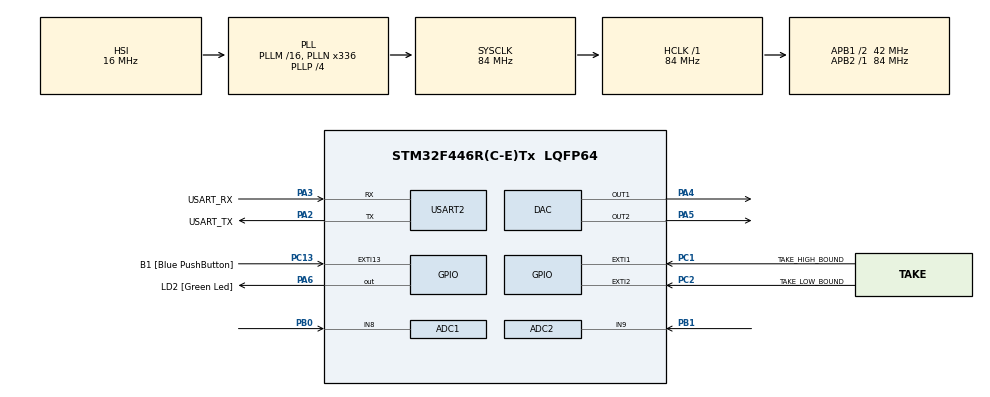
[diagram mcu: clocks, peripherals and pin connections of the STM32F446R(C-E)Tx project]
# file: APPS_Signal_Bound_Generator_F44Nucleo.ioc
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ADC1.Channel-3\#ChannelRegularConversion=ADC_CHANNEL_8
ADC1.ContinuousConvMode=DISABLE
ADC1.DMAContinuousRequests=DISABLE
ADC1.NbrOfConversion=1
ADC1.NbrOfConversionFlag=1
ADC1.Rank-3\#ChannelRegularConversion=1
ADC1.SamplingTime-3\#ChannelRegularConversion=ADC_SAMPLETIME_3CYCLES
ADC1.master=1
ADC2.Channel-2\#ChannelRegularConversion=ADC_CHANNEL_9
ADC2.ContinuousConvMode=DISABLE
ADC2.DMAContinuousRequests=DISABLE
ADC2.NbrOfConversionFlag=1
ADC2.Rank-2\#ChannelRegularConversion=1
ADC2.SamplingTime-2\#ChannelRegularConversion=ADC_SAMPLETIME_3CYCLES
Mcu.Family=STM32F4
Mcu.Name=STM32F446R(C-E)Tx
Mcu.Package=LQFP64
NVIC.EXTI1_IRQn=true\:0\:0\:false\:false\:true\:true\:true\:true
NVIC.EXTI2_IRQn=true\:0\:0\:false\:false\:true\:true\:true\:true
NVIC.PriorityGroup=NVIC_PRIORITYGROUP_0
NimaLTD.I-CUBE-EE.3.2.2.DriverJjEE=true
NimaLTD.I-CUBE-EE.3.2.2.EE_MANUAL_CONFIG=false
PA13.GPIO_Label=TMS
PA13.Mode=Serial_Wire
PA13.Signal=SYS_JTMS-SWDIO
PA14.GPIO_Label=TCK
PA14.Mode=Serial_Wire
PA14.Signal=SYS_JTCK-SWCLK
PA2.GPIO_Label=USART_TX
PA2.Mode=Asynchronous
PA2.Signal=USART2_TX
PA3.GPIO_Label=USART_RX
PA3.Mode=Asynchronous
PA3.Signal=USART2_RX
PA4.Signal=COMP_DAC1_group
PA5.Signal=COMP_DAC2_group
PA6.GPIO_Label=LD2 [Green Led]
PA6.Signal=GPIO_Output
PB0.Signal=ADCx_IN8
PB1.Signal=ADCx_IN9
PB3.GPIO_Label=SWO
PB3.Signal=SYS_JTDO-SWO
PC1.GPIO_Label=TAKE_HIGH_BOUND
PC1.Signal=GPXTI1
PC13.GPIO_Label=B1 [Blue PushButton]
PC13.GPIO_ModeDefaultEXTI=GPIO_MODE_IT_FALLING
PC13.Signal=GPXTI13
PC14-OSC32_IN.Mode=LSE-External-Oscillator
PC14-OSC32_IN.Signal=RCC_OSC32_IN
PC15-OSC32_OUT.Mode=LSE-External-Oscillator
PC15-OSC32_OUT.Signal=RCC_OSC32_OUT
PC2.GPIO_Label=TAKE_LOW_BOUND
PC2.Signal=GPXTI2
PH0-OSC_IN.Mode=HSE-External-Oscillator
PH0-OSC_IN.Signal=RCC_OSC_IN
PH1-OSC_OUT.Mode=HSE-External-Oscillator
PH1-OSC_OUT.Signal=RCC_OSC_OUT
ProjectManager.HeapSize=0x200
ProjectManager.StackSize=0x400
ProjectManager.TargetToolchain=STM32CubeIDE
RCC.48MHZClocksFreq_Value=84000000
RCC.AHBFreq_Value=84000000
RCC.APB1CLKDivider=RCC_HCLK_DIV2
RCC.APB1Freq_Value=42000000
RCC.APB1TimFreq_Value=84000000
RCC.APB2Freq_Value=84000000
RCC.APB2TimFreq_Value=84000000
RCC.CortexFreq_Value=84000000
RCC.FLatency-AdvancedSettings=FLASH_LATENCY_2
RCC.HCLKFreq_Value=84000000
RCC.HSE_VALUE=8000000
RCC.HSI_VALUE=16000000
RCC.PLLN=336
RCC.PLLP=RCC_PLLP_DIV4
RCC.SYSCLKFreq_VALUE=84000000
RCC.SYSCLKSource=RCC_SYSCLKSOURCE_PLLCLK
RCC.USBFreq_Value=168000000
RCC.VCOOutputFreq_Value=336000000
SH.ADCx_IN8.0=ADC1_IN8,IN8
SH.ADCx_IN9.0=ADC2_IN9,IN9
SH.COMP_DAC1_group.0=DAC_OUT1,DAC_OUT1
SH.COMP_DAC2_group.0=DAC_OUT2,DAC_OUT2
USART2.VirtualMode=VM_ASYNC
VP_NimaLTD.I-CUBE-EE_VS_DriverJjEE_1.0.0_3.2.2.Mode=DriverJjEE
board=NUCLEO-F446RE

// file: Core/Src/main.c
/* USER CODE BEGIN Header */
/**
  ******************************************************************************
  * @file           : main.c
  * @brief          : Main program body
  ******************************************************************************
  * @attention
  *
  * Copyright (c) 2025 STMicroelectronics.
  * All rights reserved.
  *
  * This software is licensed under terms that can be found in the LICENSE file
  * in the root directory of this software component.
  * If no LICENSE file comes with this software, it is provided AS-IS.
  *
  ******************************************************************************
  */
/* USER CODE END Header */
#include "main.h"

/* USER CODE BEGIN Includes */
#include <stdlib.h>
#include <stdio.h>
#include <math.h>

// User made library to handle EEPROM using HAL libraries
// Github Page: https://github.com/nimaltd/ee
#include "ee.h"

/* USER CODE END Includes */

ADC_HandleTypeDef hadc1;
ADC_HandleTypeDef hadc2;

DAC_HandleTypeDef hdac;

UART_HandleTypeDef huart2;

/* USER CODE BEGIN PV */

typedef struct
{
 uint32_t sens1UpperBound;
 uint32_t sens1LowerBound;

 uint32_t sens2UpperBound;
 uint32_t sens2LowerBound;
 float val4;

} stotrage_t;

stotrage_t ee_data;

/* -- Possible Default Values for Testing
uint32_t sens1UpperBound = (int)((2.216/3.3) * 4095);
uint32_t sens1LowerBound = (int)((1.543/3.3) * 4095);

uint32_t sens2UpperBound = (int)((1.543/3.3) * 4095);
uint32_t sens2LowerBound = (int)((0.87/3.3) * 4095);
*/

uint32_t sens1UpperBound;
uint32_t sens1LowerBound;

uint32_t sens2UpperBound;
uint32_t sens2LowerBound;

double sensAcceptibleDiff = 0.1;

//  Low to High Sensor
volatile uint16_t sens1PB0;

// High to Low Sensor
volatile uint16_t sens2PB1;

//latches for setting sensor bounds;
int lowerBoundInterruptLatch = 0;
int upperBoundInterruptLatch = 0;

/* USER CODE END PV */

void SystemClock_Config(void);
static void MX_GPIO_Init(void);
static void MX_USART2_UART_Init(void);
static void MX_ADC1_Init(void);
static void MX_ADC2_Init(void);
static void MX_DAC_Init(void);

/* USER CODE BEGIN 0 */

#ifdef __GNUC__
#define PUTCHAR_PROTOTYPE int __io_putchar(int ch)
#else
#define PUTCHAR_PROTOTYPE int fputc(int ch, FILE *f)
#endif

PUTCHAR_PROTOTYPE
{
  HAL_UART_Transmit(&huart2, (uint8_t *)&ch, 1, HAL_MAX_DELAY);
  return ch;
}

/* USER CODE END 0 */

int main(void)
{

  /* MCU Configuration--------------------------------------------------------*/

  /* Reset of all peripherals, Initializes the Flash interface and the Systick. */
  HAL_Init();

  /* Configure the system clock */
  SystemClock_Config();

  /* Initialize all configured peripherals */
  MX_GPIO_Init();
  MX_USART2_UART_Init();
  MX_ADC1_Init();
  MX_ADC2_Init();
  MX_DAC_Init();
  /* USER CODE BEGIN 2 */
  HAL_DAC_Start(&hdac, DAC_CHANNEL_1);  // PA4
  HAL_DAC_Start(&hdac, DAC_CHANNEL_2);  // PA5

  EE_init(&ee_data, sizeof(stotrage_t));
  EE_read();
  //sens1UpperBound = 4095;
  EE_write();

  //ee_init(&ee_data, sizeof(stotrage_t));
  //ee_read();
  /* USER CODE END 2 */

  /* Infinite loop */
  /* USER CODE BEGIN WHILE */
  while (1)
  {
	  sens1UpperBound = ee_data.sens1UpperBound;
	  sens1LowerBound = ee_data.sens1LowerBound;

	  sens2UpperBound = ee_data.sens1UpperBound;
	  sens2LowerBound = ee_data.sens2UpperBound;

	  HAL_ADC_Start(&hadc1); // start the adc
	  HAL_ADC_PollForConversion(&hadc1, 1000); // poll for conversion
	  sens1PB0 = HAL_ADC_GetValue(&hadc1); // get the adc value

	  HAL_ADC_Start(&hadc2); // start the adc
	  HAL_ADC_PollForConversion(&hadc2, 1000); // poll for conversion
	  sens2PB1 = HAL_ADC_GetValue(&hadc2); // get the adc value
	  HAL_ADC_Stop(&hadc1);
	  HAL_ADC_Stop(&hadc2);// stop adc

	  uint16_t sens1Range = abs(sens1UpperBound - sens1LowerBound);
	  uint16_t sens2Range = abs(sens2UpperBound - sens2LowerBound);

	  //double sens2PressPercent = (double)(sens2PB1 / abs(sens2UpperBound - sens2LowerBound));
	  //IF THE VALUE OF SENSOR 2 IS WITHIN THE UNNACCEPTIBLE BOUND THEN OUTPUT FLAT 0V
	  if(abs(sens2PB1 - sens1PB0)/(double)((sens1PB0 + sens2PB1) / 2) * 100 < 10.0) {
		  HAL_DAC_SetValue(&hdac, DAC_CHANNEL_1, DAC_ALIGN_12B_R, 0); // 0–4095
		  HAL_DAC_SetValue(&hdac, DAC_CHANNEL_2, DAC_ALIGN_12B_R, 0);
	  }
	  else {
		  if(sens1Range < sens2Range) {
			HAL_DAC_SetValue(&hdac, DAC_CHANNEL_1, DAC_ALIGN_12B_R, abs(sens1LowerBound - sens2LowerBound) + sens1Range * sensAcceptibleDiff ); // 0–4095
			HAL_DAC_SetValue(&hdac, DAC_CHANNEL_2, DAC_ALIGN_12B_R, abs(sens1LowerBound - sens2LowerBound) - sens1Range * sensAcceptibleDiff );
		  }
		  else {
		    HAL_DAC_SetValue(&hdac, DAC_CHANNEL_1, DAC_ALIGN_12B_R, abs(sens1LowerBound - sens2LowerBound) + sens2Range * sensAcceptibleDiff); // 0–4095
		    HAL_DAC_SetValue(&hdac, DAC_CHANNEL_2, DAC_ALIGN_12B_R, abs(sens1LowerBound - sens2LowerBound) - sens2Range * sensAcceptibleDiff);
		  }
	  }

	  HAL_DAC_SetValue(&hdac, DAC_CHANNEL_1, DAC_ALIGN_12B_R, ee_data.sens1UpperBound); // 0–4095
	  HAL_DAC_SetValue(&hdac, DAC_CHANNEL_2, DAC_ALIGN_12B_R, ee_data.sens1UpperBound);

	  // uses a latch set in interrupt to set flash data
	  // always to flash writes in main loop to avoid unintended interactions
	  if(lowerBoundInterruptLatch == 1) {

			ee_data.sens1LowerBound = sens1PB0;
			ee_data.sens2LowerBound = sens2PB1;

			EE_write(true);
			EE_read();

		  lowerBoundInterruptLatch = 0;
	  }

	  if(upperBoundInterruptLatch == 1) {

			ee_data.sens1UpperBound = sens1PB0;
			ee_data.sens2UpperBound = sens2PB1;

			EE_write(true);
			EE_read();

		  upperBoundInterruptLatch = 0;
	  }

	  //HAL_DAC_SetValue(&hdac, DAC_CHANNEL_1, DAC_ALIGN_12B_R, sens1PB0); // 0–4095
	  //(&hdac, DAC_CHANNEL_2, DAC_ALIGN_12B_R, sens2PB1);

	  //

	  //WHAT AARON WANTS

	  // values output to analog pins 0v - ~3.3v
    /* USER CODE END WHILE */

  }
}

void SystemClock_Config(void)
{
  RCC_OscInitTypeDef RCC_OscInitStruct = {0};
  RCC_ClkInitTypeDef RCC_ClkInitStruct = {0};

  /** Configure the main internal regulator output voltage
  */
  __HAL_RCC_PWR_CLK_ENABLE();
  __HAL_PWR_VOLTAGESCALING_CONFIG(PWR_REGULATOR_VOLTAGE_SCALE3);

  /** Initializes the RCC Oscillators according to the specified parameters
  * in the RCC_OscInitTypeDef structure.
  */
  RCC_OscInitStruct.OscillatorType = RCC_OSCILLATORTYPE_HSI;
  RCC_OscInitStruct.HSIState = RCC_HSI_ON;
  RCC_OscInitStruct.HSICalibrationValue = RCC_HSICALIBRATION_DEFAULT;
  RCC_OscInitStruct.PLL.PLLState = RCC_PLL_ON;
  RCC_OscInitStruct.PLL.PLLSource = RCC_PLLSOURCE_HSI;
  RCC_OscInitStruct.PLL.PLLM = 16;
  RCC_OscInitStruct.PLL.PLLN = 336;
  RCC_OscInitStruct.PLL.PLLP = RCC_PLLP_DIV4;
  RCC_OscInitStruct.PLL.PLLQ = 2;
  RCC_OscInitStruct.PLL.PLLR = 2;
  if (HAL_RCC_OscConfig(&RCC_OscInitStruct) != HAL_OK)
  {
    Error_Handler();
  }

  /** Initializes the CPU, AHB and APB buses clocks
  */
  RCC_ClkInitStruct.ClockType = RCC_CLOCKTYPE_HCLK|RCC_CLOCKTYPE_SYSCLK
                              |RCC_CLOCKTYPE_PCLK1|RCC_CLOCKTYPE_PCLK2;
  RCC_ClkInitStruct.SYSCLKSource = RCC_SYSCLKSOURCE_PLLCLK;
  RCC_ClkInitStruct.AHBCLKDivider = RCC_SYSCLK_DIV1;
  RCC_ClkInitStruct.APB1CLKDivider = RCC_HCLK_DIV2;
  RCC_ClkInitStruct.APB2CLKDivider = RCC_HCLK_DIV1;

  if (HAL_RCC_ClockConfig(&RCC_ClkInitStruct, FLASH_LATENCY_2) != HAL_OK)
  {
    Error_Handler();
  }
}

static void MX_ADC1_Init(void)
{

  ADC_ChannelConfTypeDef sConfig = {0};

  /** Configure the global features of the ADC (Clock, Resolution, Data Alignment and number of conversion)
  */
  hadc1.Instance = ADC1;
  hadc1.Init.ClockPrescaler = ADC_CLOCK_SYNC_PCLK_DIV4;
  hadc1.Init.Resolution = ADC_RESOLUTION_12B;
  hadc1.Init.ScanConvMode = DISABLE;
  hadc1.Init.ContinuousConvMode = DISABLE;
  hadc1.Init.DiscontinuousConvMode = DISABLE;
  hadc1.Init.ExternalTrigConvEdge = ADC_EXTERNALTRIGCONVEDGE_NONE;
  hadc1.Init.ExternalTrigConv = ADC_SOFTWARE_START;
  hadc1.Init.DataAlign = ADC_DATAALIGN_RIGHT;
  hadc1.Init.NbrOfConversion = 1;
  hadc1.Init.DMAContinuousRequests = DISABLE;
  hadc1.Init.EOCSelection = ADC_EOC_SINGLE_CONV;
  if (HAL_ADC_Init(&hadc1) != HAL_OK)
  {
    Error_Handler();
  }

  /** Configure for the selected ADC regular channel its corresponding rank in the sequencer and its sample time.
  */
  sConfig.Channel = ADC_CHANNEL_8;
  sConfig.Rank = 1;
  sConfig.SamplingTime = ADC_SAMPLETIME_3CYCLES;
  if (HAL_ADC_ConfigChannel(&hadc1, &sConfig) != HAL_OK)
  {
    Error_Handler();
  }

}

static void MX_ADC2_Init(void)
{

  ADC_ChannelConfTypeDef sConfig = {0};

  /** Configure the global features of the ADC (Clock, Resolution, Data Alignment and number of conversion)
  */
  hadc2.Instance = ADC2;
  hadc2.Init.ClockPrescaler = ADC_CLOCK_SYNC_PCLK_DIV4;
  hadc2.Init.Resolution = ADC_RESOLUTION_12B;
  hadc2.Init.ScanConvMode = DISABLE;
  hadc2.Init.ContinuousConvMode = DISABLE;
  hadc2.Init.DiscontinuousConvMode = DISABLE;
  hadc2.Init.ExternalTrigConvEdge = ADC_EXTERNALTRIGCONVEDGE_NONE;
  hadc2.Init.ExternalTrigConv = ADC_SOFTWARE_START;
  hadc2.Init.DataAlign = ADC_DATAALIGN_RIGHT;
  hadc2.Init.NbrOfConversion = 1;
  hadc2.Init.DMAContinuousRequests = DISABLE;
  hadc2.Init.EOCSelection = ADC_EOC_SINGLE_CONV;
  if (HAL_ADC_Init(&hadc2) != HAL_OK)
  {
    Error_Handler();
  }

  /** Configure for the selected ADC regular channel its corresponding rank in the sequencer and its sample time.
  */
  sConfig.Channel = ADC_CHANNEL_9;
  sConfig.Rank = 1;
  sConfig.SamplingTime = ADC_SAMPLETIME_3CYCLES;
  if (HAL_ADC_ConfigChannel(&hadc2, &sConfig) != HAL_OK)
  {
    Error_Handler();
  }

}

static void MX_DAC_Init(void)
{

  DAC_ChannelConfTypeDef sConfig = {0};

  /** DAC Initialization
  */
  hdac.Instance = DAC;
  if (HAL_DAC_Init(&hdac) != HAL_OK)
  {
    Error_Handler();
  }

  /** DAC channel OUT1 config
  */
  sConfig.DAC_Trigger = DAC_TRIGGER_NONE;
  sConfig.DAC_OutputBuffer = DAC_OUTPUTBUFFER_ENABLE;
  if (HAL_DAC_ConfigChannel(&hdac, &sConfig, DAC_CHANNEL_1) != HAL_OK)
  {
    Error_Handler();
  }

  /** DAC channel OUT2 config
  */
  if (HAL_DAC_ConfigChannel(&hdac, &sConfig, DAC_CHANNEL_2) != HAL_OK)
  {
    Error_Handler();
  }

}

static void MX_USART2_UART_Init(void)
{

  huart2.Instance = USART2;
  huart2.Init.BaudRate = 115200;
  huart2.Init.WordLength = UART_WORDLENGTH_8B;
  huart2.Init.StopBits = UART_STOPBITS_1;
  huart2.Init.Parity = UART_PARITY_NONE;
  huart2.Init.Mode = UART_MODE_TX_RX;
  huart2.Init.HwFlowCtl = UART_HWCONTROL_NONE;
  huart2.Init.OverSampling = UART_OVERSAMPLING_16;
  if (HAL_UART_Init(&huart2) != HAL_OK)
  {
    Error_Handler();
  }

}

static void MX_GPIO_Init(void)
{
  GPIO_InitTypeDef GPIO_InitStruct = {0};

  /* GPIO Ports Clock Enable */
  __HAL_RCC_GPIOC_CLK_ENABLE();
  __HAL_RCC_GPIOH_CLK_ENABLE();
  __HAL_RCC_GPIOA_CLK_ENABLE();
  __HAL_RCC_GPIOB_CLK_ENABLE();

  /*Configure GPIO pin Output Level */
  HAL_GPIO_WritePin(LD2_GPIO_Port, LD2_Pin, GPIO_PIN_RESET);

  /*Configure GPIO pin : B1_Pin */
  GPIO_InitStruct.Pin = B1_Pin;
  GPIO_InitStruct.Mode = GPIO_MODE_IT_FALLING;
  GPIO_InitStruct.Pull = GPIO_NOPULL;
  HAL_GPIO_Init(B1_GPIO_Port, &GPIO_InitStruct);

  /*Configure GPIO pins : TAKE_HIGH_BOUND_Pin TAKE_LOW_BOUND_Pin */
  GPIO_InitStruct.Pin = TAKE_HIGH_BOUND_Pin|TAKE_LOW_BOUND_Pin;
  GPIO_InitStruct.Mode = GPIO_MODE_IT_RISING;
  GPIO_InitStruct.Pull = GPIO_NOPULL;
  HAL_GPIO_Init(GPIOC, &GPIO_InitStruct);

  /*Configure GPIO pin : LD2_Pin */
  GPIO_InitStruct.Pin = LD2_Pin;
  GPIO_InitStruct.Mode = GPIO_MODE_OUTPUT_PP;
  GPIO_InitStruct.Pull = GPIO_NOPULL;
  GPIO_InitStruct.Speed = GPIO_SPEED_FREQ_LOW;
  HAL_GPIO_Init(LD2_GPIO_Port, &GPIO_InitStruct);

  /* EXTI interrupt init*/
  HAL_NVIC_SetPriority(EXTI1_IRQn, 0, 0);
  HAL_NVIC_EnableIRQ(EXTI1_IRQn);

  HAL_NVIC_SetPriority(EXTI2_IRQn, 0, 0);
  HAL_NVIC_EnableIRQ(EXTI2_IRQn);

  /* USER CODE BEGIN MX_GPIO_Init_2 */
  //calls interupt to take new max and min info
  /* USER CODE END MX_GPIO_Init_2 */
}

/* USER CODE BEGIN 4 */

void HAL_GPIO_EXTI_Callback(uint16_t GPIO_Pin)
{
  /* Prevent unused argument(s) compilation warning */
  UNUSED(GPIO_Pin);

  if(GPIO_Pin == TAKE_LOW_BOUND_Pin) {
	  lowerBoundInterruptLatch = 1;
  }

  if(GPIO_Pin == TAKE_HIGH_BOUND_Pin) {
	  upperBoundInterruptLatch = 1;
  }

}

/* USER CODE END 4 */

void Error_Handler(void)
{
  __disable_irq();
  while (1)
  {
  }
}
